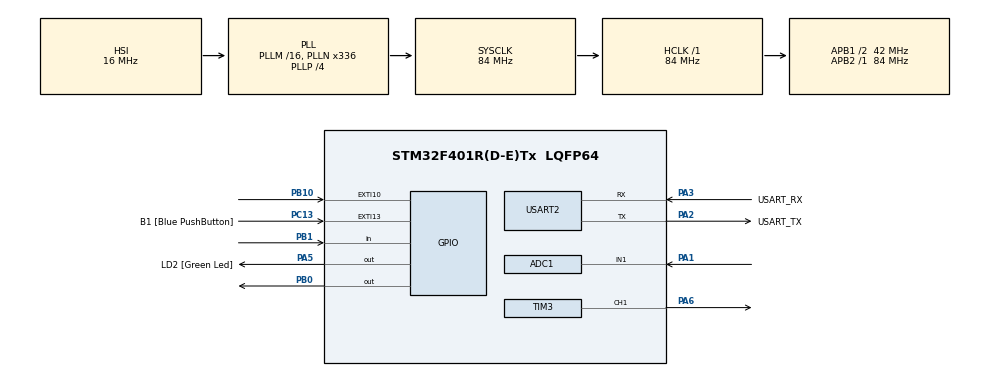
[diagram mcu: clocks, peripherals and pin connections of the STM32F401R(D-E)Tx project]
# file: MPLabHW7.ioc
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ADC1.Channel-0\#ChannelRegularConversion=ADC_CHANNEL_1
ADC1.NbrOfConversionFlag=1
ADC1.Rank-0\#ChannelRegularConversion=1
ADC1.SamplingTime-0\#ChannelRegularConversion=ADC_SAMPLETIME_84CYCLES
ADC1.master=1
Mcu.Family=STM32F4
Mcu.Name=STM32F401R(D-E)Tx
Mcu.Package=LQFP64
NVIC.EXTI15_10_IRQn=true\:0\:0\:false\:false\:true\:true\:true\:true
NVIC.PriorityGroup=NVIC_PRIORITYGROUP_4
NVIC.USART2_IRQn=true\:0\:0\:false\:false\:true\:true\:true\:true
PA1.Signal=ADCx_IN1
PA13.GPIO_Label=TMS
PA13.Mode=Trace_Asynchronous_SW
PA13.Signal=SYS_JTMS-SWDIO
PA14.GPIO_Label=TCK
PA14.Mode=Trace_Asynchronous_SW
PA14.Signal=SYS_JTCK-SWCLK
PA2.GPIO_Label=USART_TX
PA2.GPIO_Mode=GPIO_MODE_AF_PP
PA2.GPIO_PuPd=GPIO_NOPULL
PA2.GPIO_Speed=GPIO_SPEED_FREQ_LOW
PA2.Mode=Asynchronous
PA2.Signal=USART2_TX
PA3.GPIO_Label=USART_RX
PA3.GPIO_Mode=GPIO_MODE_AF_PP
PA3.GPIO_PuPd=GPIO_NOPULL
PA3.GPIO_Speed=GPIO_SPEED_FREQ_LOW
PA3.Mode=Asynchronous
PA3.Signal=USART2_RX
PA5.GPIO_Label=LD2 [Green Led]
PA5.GPIO_Mode=GPIO_MODE_OUTPUT_PP
PA5.GPIO_PuPd=GPIO_NOPULL
PA5.GPIO_Speed=GPIO_SPEED_FREQ_LOW
PA5.Signal=GPIO_Output
PA6.Signal=S_TIM3_CH1
PB0.PinState=GPIO_PIN_RESET
PB0.Signal=GPIO_Output
PB1.GPIO_PuPd=GPIO_PULLDOWN
PB1.Signal=GPIO_Input
PB10.GPIO_ModeDefaultEXTI=GPIO_MODE_IT_RISING
PB10.Signal=GPXTI10
PB3.GPIO_Label=SWO
PB3.Mode=Trace_Asynchronous_SW
PB3.Signal=SYS_JTDO-SWO
PC13-ANTI_TAMP.GPIO_Label=B1 [Blue PushButton]
PC13-ANTI_TAMP.GPIO_ModeDefaultEXTI=GPIO_MODE_IT_FALLING
PC13-ANTI_TAMP.GPIO_PuPd=GPIO_NOPULL
PC13-ANTI_TAMP.Signal=GPXTI13
PC14-OSC32_IN.Mode=LSE-External-Oscillator
PC14-OSC32_IN.Signal=RCC_OSC32_IN
PC15-OSC32_OUT.Mode=LSE-External-Oscillator
PC15-OSC32_OUT.Signal=RCC_OSC32_OUT
PH0\ -\ OSC_IN.Mode=HSE-External-Clock-Source
PH0\ -\ OSC_IN.Signal=RCC_OSC_IN
PH1\ -\ OSC_OUT.Mode=HSE-External-Clock-Source
PH1\ -\ OSC_OUT.Signal=RCC_OSC_OUT
ProjectManager.HeapSize=0x200
ProjectManager.StackSize=0x400
ProjectManager.TargetToolchain=MDK-ARM V5.32
RCC.48MHZClocksFreq_Value=48000000
RCC.AHBFreq_Value=84000000
RCC.APB1CLKDivider=RCC_HCLK_DIV2
RCC.APB1Freq_Value=42000000
RCC.APB1TimFreq_Value=84000000
RCC.APB2Freq_Value=84000000
RCC.APB2TimFreq_Value=84000000
RCC.CortexFreq_Value=84000000
RCC.HCLKFreq_Value=84000000
RCC.HSE_VALUE=8000000
RCC.HSI_VALUE=16000000
RCC.PLLN=336
RCC.PLLP=RCC_PLLP_DIV4
RCC.PLLQ=7
RCC.SYSCLKFreq_VALUE=84000000
RCC.SYSCLKSource=RCC_SYSCLKSOURCE_PLLCLK
RCC.VCOOutputFreq_Value=336000000
SH.ADCx_IN1.0=ADC1_IN1,IN1
SH.S_TIM3_CH1.0=TIM3_CH1,PWM Generation1 CH1
TIM2.Period=999
TIM2.Prescaler=83
TIM3.Channel-PWM\ Generation1\ CH1=TIM_CHANNEL_1
TIM3.Period=999
TIM3.Prescaler=83
TIM4.Prescaler=83
USART2.VirtualMode=VM_ASYNC
VP_TIM2_VS_ClockSourceINT.Mode=Internal
VP_TIM4_VS_ClockSourceINT.Mode=Internal
board=NUCLEO-F401RE

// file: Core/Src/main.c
/* USER CODE BEGIN Header */
/**
  ******************************************************************************
  * @file           : main.c
  * @brief          : Main program body
  ******************************************************************************
  * @attention
  *
  * Copyright (c) 2025 STMicroelectronics.
  * All rights reserved.
  *
  * This software is licensed under terms that can be found in the LICENSE file
  * in the root directory of this software component.
  * If no LICENSE file comes with this software, it is provided AS-IS.
  *
  ******************************************************************************
  */
/* USER CODE END Header */
#include "main.h"

/* USER CODE BEGIN Includes */
#include <string.h>
#include <stdio.h>
#include <stdlib.h>
/* USER CODE END Includes */

ADC_HandleTypeDef hadc1;

TIM_HandleTypeDef htim2;
TIM_HandleTypeDef htim3;
TIM_HandleTypeDef htim4;

UART_HandleTypeDef huart2;

/* USER CODE BEGIN PV */
#define RX_LINE_MAX 128

static uint8_t rx_ch;
static char rx_line[RX_LINE_MAX];
static volatile uint16_t rx_idx = 0;
static volatile uint8_t line_ready = 1;

static volatile uint32_t last_rise = 0;
static volatile uint32_t period_us = 0;
static volatile uint8_t have_last = 0;

/* [LAB8 ADD] */
static volatile uint8_t tick_ready = 0;
static volatile uint32_t tick_value = 0;
/* [/LAB8 ADD] */

/* USER CODE END PV */

void SystemClock_Config(void);
static void MX_GPIO_Init(void);
static void MX_ADC1_Init(void);
static void MX_TIM3_Init(void);
static void MX_TIM4_Init(void);
static void MX_USART2_UART_Init(void);
static void MX_TIM2_Init(void);

/* USER CODE BEGIN 0 */
static void uart_send_str(const char *s)
{
  HAL_StatusTypeDef status = HAL_UART_Transmit(&huart2, (uint8_t*)s, (uint16_t)strlen(s), 100);
  (void)status;
}

static void pwm_set_duty_percent(uint32_t duty_percent)
{
  if (duty_percent > 100) duty_percent = 100;
  uint32_t arr = __HAL_TIM_GET_AUTORELOAD(&htim3);   // 999
  uint32_t ccr = ((arr + 1) * duty_percent) / 100;   // 0..1000
  __HAL_TIM_SET_COMPARE(&htim3, TIM_CHANNEL_1, ccr);
}

static uint32_t adc_read_once(void)
{
  HAL_ADC_Start(&hadc1);
  HAL_ADC_PollForConversion(&hadc1, 10);
  uint32_t v = HAL_ADC_GetValue(&hadc1);
  HAL_ADC_Stop(&hadc1);
  return v;
}

static void handle_command(const char *cmd)
{
  char out[128];

  if (strcmp(cmd, "PING") == 0)
  {
    uart_send_str("PONG\n");
    return;
  }

  if (strncmp(cmd, "ADD ", 4) == 0)
  {
    int n = atoi(cmd + 4);
    snprintf(out, sizeof(out), "ADD %d\n", n + 1);
    uart_send_str(out);
    return;
  }

  if (strncmp(cmd, "OUT ", 4) == 0)
  {
    int v = atoi(cmd + 4);
    HAL_GPIO_WritePin(GPIOB, GPIO_PIN_0, (v ? GPIO_PIN_SET : GPIO_PIN_RESET));
    GPIO_PinState in = HAL_GPIO_ReadPin(GPIOB, GPIO_PIN_1);
    snprintf(out, sizeof(out), "IN %d\n", (in == GPIO_PIN_SET) ? 1 : 0);
    uart_send_str(out);
    return;
  }

  if (strncmp(cmd, "PWM ", 4) == 0)
  {
    int d = atoi(cmd + 4);
    if (d < 0) d = 0;
    if (d > 100) d = 100;
    pwm_set_duty_percent((uint32_t)d);
    snprintf(out, sizeof(out), "PWMOK %d\n", d);
    uart_send_str(out);
    return;
  }

  if (strcmp(cmd, "ADC?") == 0)
  {
    uint32_t v = adc_read_once();
    snprintf(out, sizeof(out), "ADC %lu\n", (unsigned long)v);
    uart_send_str(out);
    return;
  }

  if (strcmp(cmd, "MEAS?") == 0)
  {
    snprintf(out, sizeof(out), "PER %lu\n", (unsigned long)period_us);
    uart_send_str(out);
    return;
  }

  uart_send_str("ERR\n");
}
/* USER CODE END 0 */

int main(void)
{

  /* MCU Configuration--------------------------------------------------------*/

  /* Reset of all peripherals, Initializes the Flash interface and the Systick. */
  HAL_Init();

  /* Configure the system clock */
  SystemClock_Config();

  /* Initialize all configured peripherals */
  MX_GPIO_Init();
  MX_ADC1_Init();
  MX_TIM3_Init();
  MX_TIM4_Init();
  MX_USART2_UART_Init();
  MX_TIM2_Init();

  /* USER CODE BEGIN 2 */
  HAL_TIM_PWM_Start(&htim3, TIM_CHANNEL_1);
  HAL_TIM_Base_Start(&htim4);

  /* [LAB8 ADD] */
  HAL_TIM_Base_Start_IT(&htim2);
  /* [/LAB8 ADD] */

  pwm_set_duty_percent(0);

  HAL_UART_Receive_IT(&huart2, &rx_ch, 1);

  uart_send_str("READY\n");
  /* USER CODE END 2 */

  /* Infinite loop */
  while (1)
  {

    /* USER CODE BEGIN 3 */

    /* [LAB8 ADD] */
    if (tick_ready)
    {
      char out[64];
      uint32_t t;

      __disable_irq();
      t = tick_value;
      tick_ready = 0;
      __enable_irq();

      snprintf(out, sizeof(out), "TICK %lu\n", (unsigned long)t);
      uart_send_str(out);
    }
    /* [/LAB8 ADD] */

    if (line_ready)
    {
      char cmd_copy[RX_LINE_MAX];

      __disable_irq();
      strncpy(cmd_copy, rx_line, RX_LINE_MAX);
      cmd_copy[RX_LINE_MAX - 1] = '\0';
      rx_idx = 0;
      line_ready = 0;
      __enable_irq();

      handle_command(cmd_copy);
    }

  }
  /* USER CODE END 3 */
}

void SystemClock_Config(void)
{
  RCC_OscInitTypeDef RCC_OscInitStruct = {0};
  RCC_ClkInitTypeDef RCC_ClkInitStruct = {0};

  /** Configure the main internal regulator output voltage
  */
  __HAL_RCC_PWR_CLK_ENABLE();
  __HAL_PWR_VOLTAGESCALING_CONFIG(PWR_REGULATOR_VOLTAGE_SCALE2);

  /** Initializes the RCC Oscillators according to the specified parameters
  * in the RCC_OscInitTypeDef structure.
  */
  RCC_OscInitStruct.OscillatorType = RCC_OSCILLATORTYPE_HSI;
  RCC_OscInitStruct.HSIState = RCC_HSI_ON;
  RCC_OscInitStruct.HSICalibrationValue = RCC_HSICALIBRATION_DEFAULT;
  RCC_OscInitStruct.PLL.PLLState = RCC_PLL_ON;
  RCC_OscInitStruct.PLL.PLLSource = RCC_PLLSOURCE_HSI;
  RCC_OscInitStruct.PLL.PLLM = 16;
  RCC_OscInitStruct.PLL.PLLN = 336;
  RCC_OscInitStruct.PLL.PLLP = RCC_PLLP_DIV4;
  RCC_OscInitStruct.PLL.PLLQ = 7;
  if (HAL_RCC_OscConfig(&RCC_OscInitStruct) != HAL_OK)
  {
    Error_Handler();
  }

  /** Initializes the CPU, AHB and APB buses clocks
  */
  RCC_ClkInitStruct.ClockType = RCC_CLOCKTYPE_HCLK|RCC_CLOCKTYPE_SYSCLK
                              |RCC_CLOCKTYPE_PCLK1|RCC_CLOCKTYPE_PCLK2;
  RCC_ClkInitStruct.SYSCLKSource = RCC_SYSCLKSOURCE_PLLCLK;
  RCC_ClkInitStruct.AHBCLKDivider = RCC_SYSCLK_DIV1;
  RCC_ClkInitStruct.APB1CLKDivider = RCC_HCLK_DIV2;
  RCC_ClkInitStruct.APB2CLKDivider = RCC_HCLK_DIV1;

  if (HAL_RCC_ClockConfig(&RCC_ClkInitStruct, FLASH_LATENCY_2) != HAL_OK)
  {
    Error_Handler();
  }
}

static void MX_ADC1_Init(void)
{

  ADC_ChannelConfTypeDef sConfig = {0};

  /** Configure the global features of the ADC (Clock, Resolution, Data Alignment and number of conversion)
  */
  hadc1.Instance = ADC1;
  hadc1.Init.ClockPrescaler = ADC_CLOCK_SYNC_PCLK_DIV4;
  hadc1.Init.Resolution = ADC_RESOLUTION_12B;
  hadc1.Init.ScanConvMode = DISABLE;
  hadc1.Init.ContinuousConvMode = DISABLE;
  hadc1.Init.DiscontinuousConvMode = DISABLE;
  hadc1.Init.ExternalTrigConvEdge = ADC_EXTERNALTRIGCONVEDGE_NONE;
  hadc1.Init.ExternalTrigConv = ADC_SOFTWARE_START;
  hadc1.Init.DataAlign = ADC_DATAALIGN_RIGHT;
  hadc1.Init.NbrOfConversion = 1;
  hadc1.Init.DMAContinuousRequests = DISABLE;
  hadc1.Init.EOCSelection = ADC_EOC_SINGLE_CONV;
  if (HAL_ADC_Init(&hadc1) != HAL_OK)
  {
    Error_Handler();
  }

  /** Configure for the selected ADC regular channel its corresponding rank in the sequencer and its sample time.
  */
  sConfig.Channel = ADC_CHANNEL_1;
  sConfig.Rank = 1;
  sConfig.SamplingTime = ADC_SAMPLETIME_84CYCLES;
  if (HAL_ADC_ConfigChannel(&hadc1, &sConfig) != HAL_OK)
  {
    Error_Handler();
  }

}

static void MX_TIM2_Init(void)
{

  TIM_ClockConfigTypeDef sClockSourceConfig = {0};
  TIM_MasterConfigTypeDef sMasterConfig = {0};

  htim2.Instance = TIM2;
  htim2.Init.Prescaler = 83;
  htim2.Init.CounterMode = TIM_COUNTERMODE_UP;
  htim2.Init.Period = 999;
  htim2.Init.ClockDivision = TIM_CLOCKDIVISION_DIV1;
  htim2.Init.AutoReloadPreload = TIM_AUTORELOAD_PRELOAD_DISABLE;
  if (HAL_TIM_Base_Init(&htim2) != HAL_OK)
  {
    Error_Handler();
  }
  sClockSourceConfig.ClockSource = TIM_CLOCKSOURCE_INTERNAL;
  if (HAL_TIM_ConfigClockSource(&htim2, &sClockSourceConfig) != HAL_OK)
  {
    Error_Handler();
  }
  sMasterConfig.MasterOutputTrigger = TIM_TRGO_RESET;
  sMasterConfig.MasterSlaveMode = TIM_MASTERSLAVEMODE_DISABLE;
  if (HAL_TIMEx_MasterConfigSynchronization(&htim2, &sMasterConfig) != HAL_OK)
  {
    Error_Handler();
  }

}

static void MX_TIM3_Init(void)
{

  TIM_MasterConfigTypeDef sMasterConfig = {0};
  TIM_OC_InitTypeDef sConfigOC = {0};

  htim3.Instance = TIM3;
  htim3.Init.Prescaler = 83;
  htim3.Init.CounterMode = TIM_COUNTERMODE_UP;
  htim3.Init.Period = 999;
  htim3.Init.ClockDivision = TIM_CLOCKDIVISION_DIV1;
  htim3.Init.AutoReloadPreload = TIM_AUTORELOAD_PRELOAD_DISABLE;
  if (HAL_TIM_PWM_Init(&htim3) != HAL_OK)
  {
    Error_Handler();
  }
  sMasterConfig.MasterOutputTrigger = TIM_TRGO_RESET;
  sMasterConfig.MasterSlaveMode = TIM_MASTERSLAVEMODE_DISABLE;
  if (HAL_TIMEx_MasterConfigSynchronization(&htim3, &sMasterConfig) != HAL_OK)
  {
    Error_Handler();
  }
  sConfigOC.OCMode = TIM_OCMODE_PWM1;
  sConfigOC.Pulse = 0;
  sConfigOC.OCPolarity = TIM_OCPOLARITY_HIGH;
  sConfigOC.OCFastMode = TIM_OCFAST_DISABLE;
  if (HAL_TIM_PWM_ConfigChannel(&htim3, &sConfigOC, TIM_CHANNEL_1) != HAL_OK)
  {
    Error_Handler();
  }

  HAL_TIM_MspPostInit(&htim3);
}

static void MX_TIM4_Init(void)
{

  TIM_ClockConfigTypeDef sClockSourceConfig = {0};
  TIM_MasterConfigTypeDef sMasterConfig = {0};

  htim4.Instance = TIM4;
  htim4.Init.Prescaler = 83;
  htim4.Init.CounterMode = TIM_COUNTERMODE_UP;
  htim4.Init.Period = 65535;
  htim4.Init.ClockDivision = TIM_CLOCKDIVISION_DIV1;
  htim4.Init.AutoReloadPreload = TIM_AUTORELOAD_PRELOAD_DISABLE;
  if (HAL_TIM_Base_Init(&htim4) != HAL_OK)
  {
    Error_Handler();
  }
  sClockSourceConfig.ClockSource = TIM_CLOCKSOURCE_INTERNAL;
  if (HAL_TIM_ConfigClockSource(&htim4, &sClockSourceConfig) != HAL_OK)
  {
    Error_Handler();
  }
  sMasterConfig.MasterOutputTrigger = TIM_TRGO_RESET;
  sMasterConfig.MasterSlaveMode = TIM_MASTERSLAVEMODE_DISABLE;
  if (HAL_TIMEx_MasterConfigSynchronization(&htim4, &sMasterConfig) != HAL_OK)
  {
    Error_Handler();
  }

}

static void MX_USART2_UART_Init(void)
{

  huart2.Instance = USART2;
  huart2.Init.BaudRate = 115200;
  huart2.Init.WordLength = UART_WORDLENGTH_8B;
  huart2.Init.StopBits = UART_STOPBITS_1;
  huart2.Init.Parity = UART_PARITY_NONE;
  huart2.Init.Mode = UART_MODE_TX_RX;
  huart2.Init.HwFlowCtl = UART_HWCONTROL_NONE;
  huart2.Init.OverSampling = UART_OVERSAMPLING_16;
  if (HAL_UART_Init(&huart2) != HAL_OK)
  {
    Error_Handler();
  }

}

static void MX_GPIO_Init(void)
{
  GPIO_InitTypeDef GPIO_InitStruct = {0};

  /* GPIO Ports Clock Enable */
  __HAL_RCC_GPIOC_CLK_ENABLE();
  __HAL_RCC_GPIOH_CLK_ENABLE();
  __HAL_RCC_GPIOA_CLK_ENABLE();
  __HAL_RCC_GPIOB_CLK_ENABLE();

  /*Configure GPIO pin Output Level */
  HAL_GPIO_WritePin(LD2_GPIO_Port, LD2_Pin, GPIO_PIN_RESET);

  /*Configure GPIO pin Output Level */
  HAL_GPIO_WritePin(GPIOB, GPIO_PIN_0, GPIO_PIN_RESET);

  /*Configure GPIO pin : B1_Pin */
  GPIO_InitStruct.Pin = B1_Pin;
  GPIO_InitStruct.Mode = GPIO_MODE_IT_FALLING;
  GPIO_InitStruct.Pull = GPIO_NOPULL;
  HAL_GPIO_Init(B1_GPIO_Port, &GPIO_InitStruct);

  /*Configure GPIO pin : LD2_Pin */
  GPIO_InitStruct.Pin = LD2_Pin;
  GPIO_InitStruct.Mode = GPIO_MODE_OUTPUT_PP;
  GPIO_InitStruct.Pull = GPIO_NOPULL;
  GPIO_InitStruct.Speed = GPIO_SPEED_FREQ_LOW;
  HAL_GPIO_Init(LD2_GPIO_Port, &GPIO_InitStruct);

  /*Configure GPIO pin : PB0 */
  GPIO_InitStruct.Pin = GPIO_PIN_0;
  GPIO_InitStruct.Mode = GPIO_MODE_OUTPUT_PP;
  GPIO_InitStruct.Pull = GPIO_NOPULL;
  GPIO_InitStruct.Speed = GPIO_SPEED_FREQ_LOW;
  HAL_GPIO_Init(GPIOB, &GPIO_InitStruct);

  /*Configure GPIO pin : PB1 */
  GPIO_InitStruct.Pin = GPIO_PIN_1;
  GPIO_InitStruct.Mode = GPIO_MODE_INPUT;
  GPIO_InitStruct.Pull = GPIO_PULLDOWN;
  HAL_GPIO_Init(GPIOB, &GPIO_InitStruct);

  /*Configure GPIO pin : PB10 */
  GPIO_InitStruct.Pin = GPIO_PIN_10;
  GPIO_InitStruct.Mode = GPIO_MODE_IT_RISING;
  GPIO_InitStruct.Pull = GPIO_NOPULL;
  HAL_GPIO_Init(GPIOB, &GPIO_InitStruct);

  /* EXTI interrupt init*/
  HAL_NVIC_SetPriority(EXTI15_10_IRQn, 0, 0);
  HAL_NVIC_EnableIRQ(EXTI15_10_IRQn);

}

/* USER CODE BEGIN 4 */
void HAL_UART_RxCpltCallback(UART_HandleTypeDef *huart)
{
  if (huart->Instance == USART2)
  {
    if (!line_ready)
    {
      if (rx_ch == '\r')
      {
      }
      else if (rx_ch == '\n')
      {
        rx_line[rx_idx] = '\0';
        line_ready = 1;
      }
      else
      {
        if (rx_idx < (RX_LINE_MAX - 1))
          rx_line[rx_idx++] = (char)rx_ch;
        else
          rx_idx = 0;
      }
    }

    HAL_UART_Receive_IT(&huart2, &rx_ch, 1);
  }
}

void HAL_GPIO_EXTI_Callback(uint16_t GPIO_Pin)
{
  if (GPIO_Pin == GPIO_PIN_10)  // PB10
  {
    uint32_t now = __HAL_TIM_GET_COUNTER(&htim4);

    if (have_last)
    {
      if (now >= last_rise) period_us = now - last_rise;
      else period_us = (65536u - last_rise) + now;
    }

    last_rise = now;
    have_last = 1;
  }
}

/* [LAB8 ADD] */
void HAL_TIM_PeriodElapsedCallback(TIM_HandleTypeDef *htim)
{
  if (htim->Instance == TIM2)
  {
    tick_value = HAL_GetTick();
    tick_ready = 1;
  }
}
/* [/LAB8 ADD] */

/* USER CODE END 4 */

void Error_Handler(void)
{
  __disable_irq();
  while (1)
  {
  }
}
